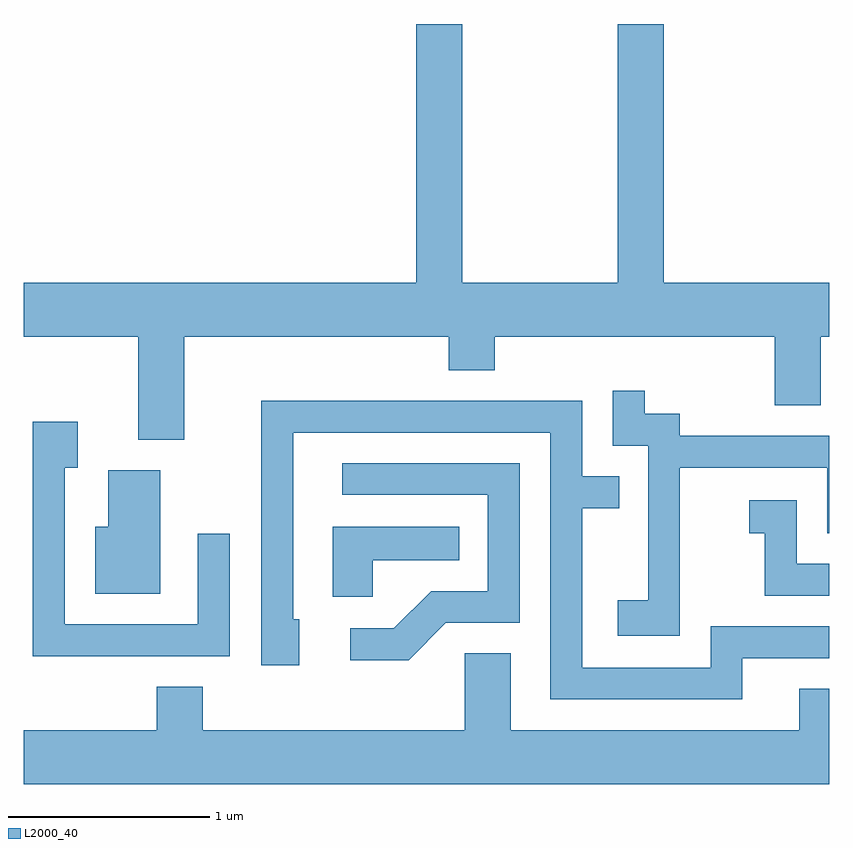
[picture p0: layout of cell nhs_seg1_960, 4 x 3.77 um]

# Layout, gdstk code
import gdstk
lib = gdstk.Library(unit=1e-6, precision=1e-09)
def P(c, l, *ps):  # polygons
    for p in ps: c.add(gdstk.Polygon(p, *l))
L2000_40 = (2000, 40)

nhs_seg1_960 = lib.new_cell('nhs_seg1_960')
P(nhs_seg1_960, L2000_40, [(216.409,844.076),(217.721,844.076),(217.721,843.911),(217.949,843.911),(217.949,844.076),(219.341,844.076),(219.341,843.736),(219.569,843.736),(219.569,844.076),(219.611,844.076),(219.611,844.344),(218.789,844.344),(218.789,845.629),(218.561,845.629),(218.561,844.344),(217.789,844.344),(217.789,845.629),(217.561,845.629),(217.561,844.344),(215.611,844.344),(215.611,844.076),(216.181,844.076),(216.181,843.566),(216.409,843.566)],
  [(218.869,843.426),(219.601,843.426),(219.601,843.101),(219.611,843.101),(219.611,843.584),(218.869,843.584),(218.869,843.694),(218.694,843.694),(218.694,843.808),(218.536,843.808),(218.536,843.536),(218.711,843.536),(218.711,842.769),(218.561,842.769),(218.561,842.591),(218.869,842.591)],
  [(219.179,842.481),(219.611,842.481),(219.611,842.639),(219.021,842.639),(219.021,842.434),(218.384,842.434),(218.384,843.226),(218.568,843.226),(218.568,843.384),(218.384,843.384),(218.384,843.759),(216.791,843.759),(216.791,842.446),(216.979,842.446),(216.979,842.674),(216.949,842.674),(216.949,843.601),(218.226,843.601),(218.226,842.276),(219.179,842.276)],
  [(216.634,843.098),(216.476,843.098),(216.476,842.649),(215.814,842.649),(215.814,843.426),(215.879,843.426),(215.879,843.654),(215.656,843.654),(215.656,842.491),(216.634,842.491)],
  [(217.707,842.656),(218.074,842.656),(218.074,843.449),(217.193,843.449),(217.193,843.291),(217.916,843.291),(217.916,842.814),(217.634,842.814),(217.449,842.629),(217.233,842.629),(217.233,842.471),(217.522,842.471)],
  [(216.289,843.414),(216.031,843.414),(216.031,843.134),(215.966,843.134),(215.966,842.801),(216.289,842.801)],
  [(219.611,842.949),(219.449,842.949),(219.449,843.264),(219.213,843.264),(219.213,843.101),(219.291,843.101),(219.291,842.791),(219.611,842.791)],
  [(217.344,842.966),(217.773,842.966),(217.773,843.134),(217.146,843.134),(217.146,842.786),(217.344,842.786)],
  [(219.611,842.329),(219.461,842.329),(219.461,842.124),(218.029,842.124),(218.029,842.504),(217.801,842.504),(217.801,842.124),(216.499,842.124),(216.499,842.339),(216.271,842.339),(216.271,842.124),(215.611,842.124),(215.611,841.856),(219.611,841.856)])

lib.write_gds('nhs_seg1_960.gds')
